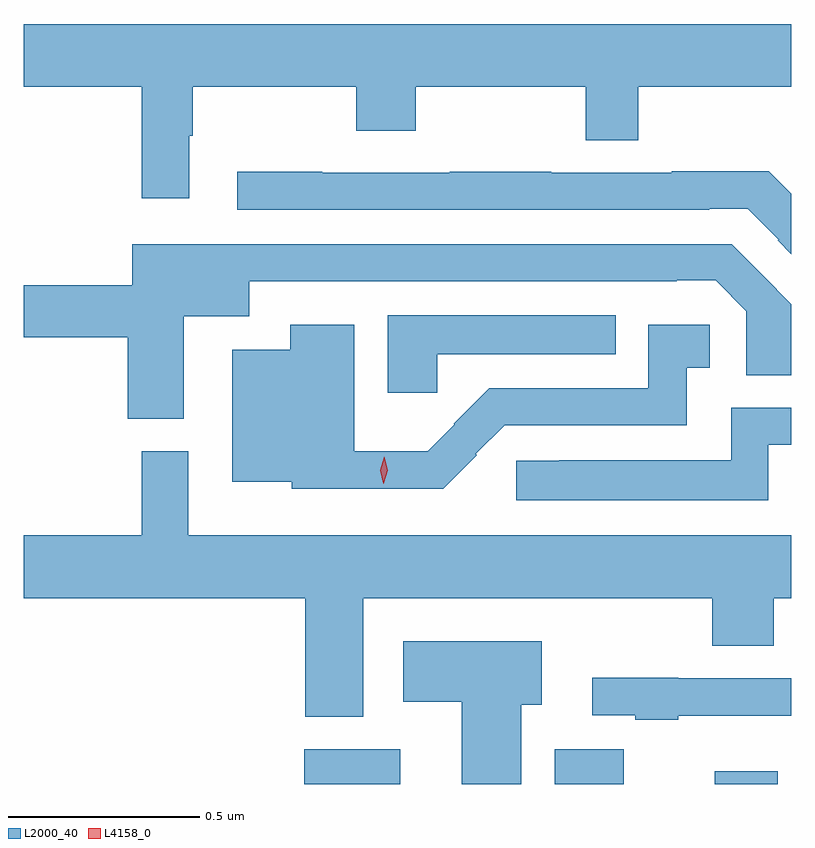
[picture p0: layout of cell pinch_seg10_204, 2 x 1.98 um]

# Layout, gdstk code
import gdstk
lib = gdstk.Library(unit=1e-6, precision=1e-09)
def R(c, l, rs):  # rectangles x0, y0, x1, y1
    for r in rs: c.add(gdstk.rectangle(r[:2], r[2:], *l))
def P(c, l, *ps):  # polygons
    for p in ps: c.add(gdstk.Polygon(p, *l))
L2000_40 = (2000, 40)
L4158_0 = (4158, 0)

pinch_seg10_204 = lib.new_cell('pinch_seg10_204')
R(pinch_seg10_204, L2000_40, [(843.795,1250.548,844.045,1250.638), (844.448,1250.548,844.627,1250.638), (844.865,1250.548,845.029,1250.581)])
P(pinch_seg10_204, L2000_40, [(843.496,1252.237),(843.504,1252.237),(843.504,1252.364),(843.931,1252.364),(843.931,1252.25),(844.086,1252.25),(844.086,1252.364),(844.528,1252.364),(844.528,1252.225),(844.665,1252.225),(844.665,1252.364),(845.064,1252.364),(845.064,1252.528),(843.064,1252.528),(843.064,1252.364),(843.371,1252.364),(843.371,1252.074),(843.496,1252.074)],
  [(845.064,1252.086),(845.005,1252.145),(844.753,1252.145),(844.753,1252.14),(844.439,1252.14),(844.439,1252.143),(844.174,1252.143),(844.174,1252.14),(843.842,1252.14),(843.842,1252.143),(843.621,1252.143),(843.621,1252.044),(844.85,1252.044),(844.85,1252.047),(844.95,1252.047),(845.031,1251.966),(845.028,1251.964),(845.064,1251.928)],
  [(843.481,1251.767),(843.652,1251.767),(843.652,1251.858),(844.766,1251.858),(844.766,1251.86),(844.867,1251.86),(844.947,1251.78),(844.947,1251.613),(845.064,1251.613),(845.064,1251.798),(844.989,1251.873),(844.99,1251.874),(844.909,1251.954),(843.347,1251.954),(843.347,1251.848),(843.064,1251.848),(843.064,1251.712),(843.335,1251.712),(843.335,1251.5),(843.481,1251.5)],
  [(844.142,1251.668),(844.606,1251.668),(844.606,1251.769),(844.013,1251.769),(844.013,1251.567),(844.142,1251.567)],
  [(844.245,1251.405),(844.242,1251.408),(844.317,1251.483),(844.792,1251.483),(844.792,1251.632),(844.852,1251.632),(844.852,1251.745),(844.691,1251.745),(844.691,1251.579),(844.277,1251.579),(844.184,1251.486),(844.186,1251.484),(844.117,1251.415),(843.925,1251.415),(843.925,1251.745),(843.758,1251.745),(843.758,1251.679),(843.608,1251.679),(843.608,1251.335),(843.762,1251.335),(843.762,1251.317),(844.157,1251.317)],
  [(845.004,1251.432),(845.064,1251.432),(845.064,1251.528),(844.908,1251.528),(844.908,1251.391),(844.459,1251.391),(844.459,1251.39),(844.347,1251.39),(844.347,1251.287),(845.004,1251.287)],
  [(843.949,1251.032),(844.858,1251.032),(844.858,1250.908),(845.018,1250.908),(845.018,1251.032),(845.064,1251.032),(845.064,1251.196),(843.493,1251.196),(843.493,1251.415),(843.371,1251.415),(843.371,1251.196),(843.064,1251.196),(843.064,1251.032),(843.797,1251.032),(843.797,1250.723),(843.949,1250.723)],
  [(844.36,1250.755),(844.414,1250.755),(844.414,1250.92),(844.053,1250.92),(844.053,1250.762),(844.205,1250.762),(844.205,1250.548),(844.36,1250.548)],
  [(844.769,1250.726),(845.064,1250.726),(845.064,1250.823),(844.769,1250.823),(844.769,1250.825),(844.545,1250.825),(844.545,1250.727),(844.657,1250.727),(844.657,1250.715),(844.769,1250.715)])
P(pinch_seg10_204, L4158_0, [(844.002,1251.33),(844.001,1251.331),(843.993,1251.366),(844.004,1251.401),(844.004,1251.401),(844.004,1251.401),(844.013,1251.365),(844.002,1251.331)])

lib.write_gds('pinch_seg10_204.gds')
